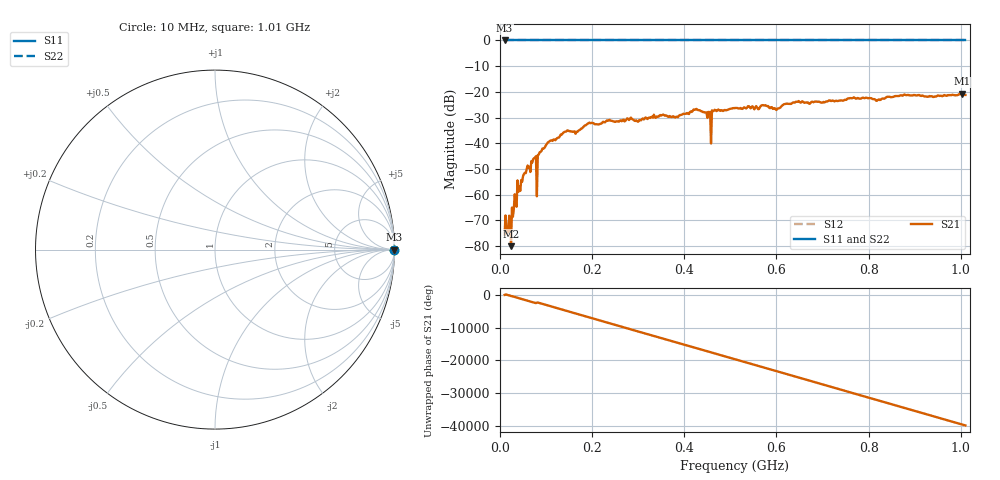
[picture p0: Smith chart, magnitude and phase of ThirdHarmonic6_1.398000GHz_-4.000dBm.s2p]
! 8/16/2025 3:57:51 PM
! C:\ANRITSUVNA\TEMP\TEMP.S2P
! CHANNEL.1
! TR.MEASUREMENT
! RAW.DATA
! RF.CORRECTION.OFF
! AVERAGING.OFF
! IF.BANDWIDTH: 5KHZ
! SWEEPTYPE:  FREQ.SWEEP(Linear)
! Reference Plane Port Info
! PORT:  PORT1  PORT2
! DISTANCE:  0  m  0  m
! TIME:  0  s  0  s
! PHASE.OFFSET:  0  deg.  0  deg.
! LOSS:  0  dB  0  dB
! REF.LOSS:  0  dB  0  dB
! REF.FREQ:  0  Hz  0  Hz
! Power Info
! POWER:  -20  dBm  -20  dBm
! EFF.POWER:  -20  dBm  -20  dBm
! SOURCE.ATTEN:  0  dB  0  dB
! TEST.ATTEN:  0  dB  0  dB
# GHZ S RI R 50.0
! FREQ.GHZ  S11RE  S11IM  S21RE  S21IM  S12RE  S12IM  S22RE  S22IM
!; PortSelection: Port_12
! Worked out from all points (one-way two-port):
!   501 points, 10 MHz to 1.01 GHz, reference 50 ohm
!   highest |S21| = -20.75 dB at 1.002 GHz (marker M1); lowest = -80.0 dB at 24 MHz (marker M2)
!   lowest |S11| = 0.0 dB at 10 MHz (marker M3)
!   |S11| at or under -10 dB: nowhere
!   |S22| runs from 0.0 to 0.0 dB; largest |S21 - S12| = 1.1
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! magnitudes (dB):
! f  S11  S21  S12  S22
! 10 MHz  0.0  -75.5  0.0  0.0
! 16 MHz  0.0  -75.1  0.0  0.0
! 20 MHz  0.0  -68.2  0.0  0.0
! 24 MHz  0.0  -80.0  0.0  0.0
! 42 MHz  0.0  -56.7  0.0  0.0
! 72 MHz  0.0  -46.1  0.0  0.0
! 76 MHz  0.0  -45.7  0.0  0.0
! 84 MHz  0.0  -44.4  0.0  0.0
! 86 MHz  0.0  -43.5  0.0  0.0
! 108 MHz  0.0  -39.1  0.0  0.0
! 178 MHz  0.0  -34.2  0.0  0.0
! 344 MHz  0.0  -29.7  0.0  0.0
! 424 MHz  0.0  -26.9  0.0  0.0
! 452 MHz  0.0  -27.8  0.0  0.0
! 454 MHz  0.0  -27.9  0.0  0.0
! 462 MHz  0.0  -27.5  0.0  0.0
! 464 MHz  0.0  -27.3  0.0  0.0
! 510 MHz  0.0  -26.3  0.0  0.0
! 678 MHz  0.0  -23.8  0.0  0.0
! 844 MHz  0.0  -21.9  0.0  0.0
! 1.002 GHz  0.0  -20.8  0.0  0.0
! 1.01 GHz  0.0  -21.2  0.0  0.0
